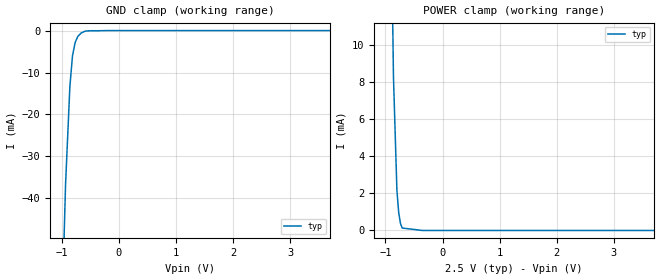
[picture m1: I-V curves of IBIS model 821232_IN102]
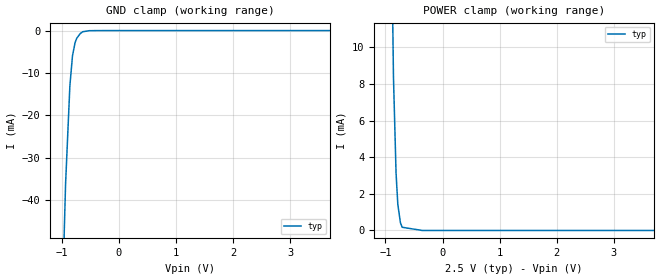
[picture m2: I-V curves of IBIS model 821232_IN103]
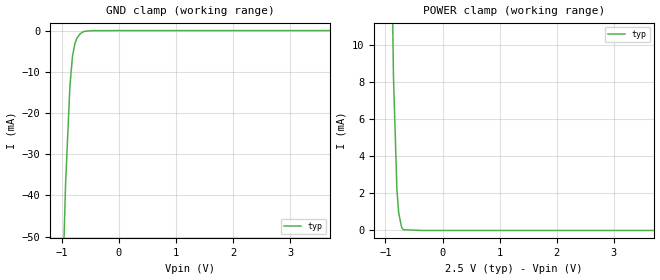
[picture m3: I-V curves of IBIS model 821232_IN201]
| COPYRIGHT(C) MENTOR GRAPHICS CORPORATION 2002 ALL
| RIGHTS RESERVED. THIS WORK CONTAINS PROPRIETARY
| INFORMATION WHICH IS THE PROPERTY OF MENTOR GRAPHICS
| CORPORATION OR ITS LICENSORS. USE OF THESE MATERIALS
| IS SUBJECT TO THE TERMS BELOW.
| USE: YOU MAY USE IBIS MODELS SOLELY FOR DEVELOPING
| PRINTED CIRCUIT BOARD DESIGNS. NO OTHER USE OR
| DISTRIBUTION OF THESE MATERIALS IS PERMITTED.
| DISCLAIMER OF WARRANTY:  UNLESS OTHERWISE AGREED
| IN WRITING, MENTOR GRAPHICS SOFTWARE AND ASSOCIATED
| FILES ARE PROVIDED "AS IS" AND WITHOUT WARRANTY.
| MENTOR GRAPHICS HAS NO OBLIGATION TO SUPPORT OR
| OTHERWISE MAINTAIN SOFTWARE.  MENTOR GRAPHICS MAKES
| NO WARRANTIES, EXPRESS OR IMPLIED WITH RESPECT TO
| SOFTWARE INCLUDING ANY WARRANTY OF MERCHANTABILITY
| OR FITNESS FOR A PARTICULAR PURPOSE.
| LIMITATION OF LIABILITY:  MENTOR GRAPHICS IS NOT LIABLE FOR
| ANY PROPERTY DAMAGE, PERSONAL INJURY, LOSS OF PROFITS,
| INTERRUPTION OF BUSINESS, OR FOR ANY OTHER SPECIAL,
| CONSEQUENTIAL OR INCIDENTAL DAMAGES, HOWEVER CAUSED,
| WHETHER FOR BREACH OF WARRANTY, CONTRACT, TORT
| (INCLUDING NEGLIGENCE), STRICT LIABILITY OR OTHERWISE. IN NO
| EVENT SHALL MENTOR GRAPHICS' LIABILITY EXCEED THE AMOUNT
| PAID FOR THE PRODUCT GIVING RISE TO THE CLAIM.
| TRADEMARKS:  THE FOLLOWING ARE REGISTERED TRADEMARKS
| OR SERVICE MARKS OF MENTOR GRAPHICS CORPORATION:
| ICX, ICX STANDARD LIBRARY, ICX PROJECT MODELING,
| AND ICX CUSTOM MODELING.  THE FOLLOWING ARE TRADEMARKS
| OR SERVICE MARKS OF MENTOR GRAPHICS CORPORATION:
| QUALITYIBIS, MODELVIEWER, AND MODELEDITOR. ALL OTHER
| BRANDS AND PRODUCT NAMES ARE TRADEMARKS OF THEIR
| RESPECTIVE OWNERS.
| COPIES:  ALL COPIES OF SOFTWARE, INCLUDING BUT NOT LIMITED
| TO ANY MODIFICATIONS, ENHANCEMENTS OR DERIVATIVE WORKS
| MUST CONTAIN ALL MENTOR GRAPHICS' NOTICES AND LEGENDS,
| INCLUDING THOSE EMBEDDED IN SOFTWARE AND THOSE AFFIXED
| TO THE SOFTWARE MEDIUM AND CONTAINER, AS RECEIVED FROM
| MENTOR GRAPHICS.
[IBIS Ver] 3.2
[File Name] nbsg53amn_25_800.ibs
[File Rev] 1.0
[Source] Measured and created by ICX Technology
[Date] 8/27/2003
[Copyright]
| COPYRIGHT(C) MENTOR GRAPHICS CORPORATION 2002 ALL
| RIGHTS RESERVED. THIS WORK CONTAINS PROPRIETARY
| INFORMATION WHICH IS THE PROPERTY OF MENTOR GRAPHICS
| CORPORATION OR ITS LICENSORS. USE OF THESE MATERIALS
| IS SUBJECT TO THE TERMS BELOW.
| USE: YOU MAY USE IBIS MODELS SOLELY FOR DEVELOPING
| PRINTED CIRCUIT BOARD DESIGNS. NO OTHER USE OR
| DISTRIBUTION OF THESE MATERIALS IS PERMITTED.
|  ZAP Model Builder 3.2
[Component] NBSG53AMN_25_800
[Manufacturer] On Semiconductor
[Package]
| variable   typ   min   max
R_pkg  .041ohms NA NA
L_pkg  0.797nH NA NA
C_pkg  0.131pF NA NA
[Pin] signal_name  model_name  R_pin  L_pin C_pin
1 _VTCLK NC   0.043 0.8418n 0.1483p
2 _CLK 821232_IN301  0.0395 0.7557n 0.1145p
3 CLK 821232_IN201   0.0395 0.755n 0.1192p
4 VTCLK NC   0.043 0.8427n 0.1486p
5 _VTD NC   0.043 0.8451n 0.1474p
6 _D 821232_IN102   0.0395 0.756n 0.1156p
7 D 821232_IN103   0.0395 0.7551n 0.1165p
8 VTD NC   0.043 0.8432n 0.1485p
9 VCC POWER   0.043 0.8418n 0.1468p
10 Q 821232_OUT204   0.0395 0.7533n 0.1136p
11 _Q 821232_OUT204  0.0395 0.7524n 0.1148p
12 VEE POWER   0.043 0.8415n 0.1528p
13 OLS 821232_IN404  0.043 0.8426n 0.1473p
14 SEL 821232_IN403  0.0395 0.7536n 0.1164p
15 R 821232_IN402   0.0395 0.7514n 0.118p
16 VCC POWER   0.043 0.8412n 0.1487p
[Diff Pin] inv_pin vdiff tdelay_typ tdelay_min tdelay_max
7 6 200mV NA NA NA
4 3 200mV NA NA NA
10 11 NA NA NA NA
| Models and submodels in the file (8): 821232_IN102 (Input_ECL), 821232_IN103 (Input_ECL), 821232_IN201 (Input_ECL), 821232_IN301 (Input_ECL), 821232_IN402 (Input), 821232_IN403 (Input), 821232_IN404 (Input), 821232_OUT204 (Output_ECL)
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| COPYRIGHT(C) MENTOR GRAPHICS CORPORATION 2002 ALL
| RIGHTS RESERVED. THIS WORK CONTAINS PROPRIETARY
| INFORMATION WHICH IS THE PROPERTY OF MENTOR GRAPHICS
| CORPORATION OR ITS LICENSORS. USE OF THESE MATERIALS
| IS SUBJECT TO THE TERMS BELOW.
| USE: YOU MAY USE IBIS MODELS SOLELY FOR DEVELOPING
| PRINTED CIRCUIT BOARD DESIGNS. NO OTHER USE OR
| DISTRIBUTION OF THESE MATERIALS IS PERMITTED.
| Model Application Version 1.89 2/18/99.
[Model] 821232_IN102
Model_type Input_ECL
Vinl = 1.100V
Vinh = 1.250V
C_comp 1.000pF NA NA
| variable typ   min   max
[Voltage Range] 2.500V NA NA
[GND Clamp Reference] 0.000V NA NA
[POWER Clamp Reference] 2.500V NA NA
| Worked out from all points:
|   GND clamp passes 1 mA (typ) near -0.69 V on its own axis
|   POWER clamp passes 1 mA (typ) near -0.77 V on its own axis
[GND Clamp]
-2.5V     -806.4mA   NA         NA
-932.3mV  -36.73mA   NA         NA
-856.5mV  -13.27mA   NA         NA
-810.9mV  -5.964mA   NA         NA
-765.3mV  -2.83mA    NA         NA
-719.7mV  -1.372mA   NA         NA
-659mV    -502.3uA   NA         NA
-587.6mV  -65.19uA   NA         NA
-496.5mV  27.81uA    NA         NA
-349.6mV  27.81uA    NA         NA
-202.7mV  71.6uA     NA         NA
5V        71.6uA     NA         NA
[POWER Clamp]
-2.5V     378.9mA    NA         NA
-859.6mV  8.276mA    NA         NA
-798.9mV  2.141mA    NA         NA
-768.4mV  976.9uA    NA         NA
-737.7mV  393uA      NA         NA
-707.5mV  131.5uA    NA         NA
-353.7mV  0A         NA         NA
5V        0A         NA         NA
| COPYRIGHT(C) MENTOR GRAPHICS CORPORATION 2002 ALL
| RIGHTS RESERVED. THIS WORK CONTAINS PROPRIETARY
| INFORMATION WHICH IS THE PROPERTY OF MENTOR GRAPHICS
| CORPORATION OR ITS LICENSORS. USE OF THESE MATERIALS
| IS SUBJECT TO THE TERMS BELOW.
| USE: YOU MAY USE IBIS MODELS SOLELY FOR DEVELOPING
| PRINTED CIRCUIT BOARD DESIGNS. NO OTHER USE OR
| DISTRIBUTION OF THESE MATERIALS IS PERMITTED.
| Model Application Version 1.89 2/18/99.
[Model] 821232_IN103
Model_type Input_ECL
Vinl = 1.100V
Vinh = 1.250V
C_comp 1.000pF NA NA
| variable typ   min   max
[Voltage Range] 2.500V NA NA
[GND Clamp Reference] 0.000V NA NA
[POWER Clamp Reference] 2.500V NA NA
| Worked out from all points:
|   GND clamp passes 1 mA (typ) near -0.69 V on its own axis
|   POWER clamp passes 1 mA (typ) near -0.76 V on its own axis
[GND Clamp]
-2.5V     -804mA     NA         NA
-932.3mV  -36.36mA   NA         NA
-856.6mV  -13mA      NA         NA
-810.9mV  -5.907mA   NA         NA
-765.3mV  -2.786mA   NA         NA
-735mV    -1.743mA   NA         NA
-674.1mV  -640.4uA   NA         NA
-628.3mV  -216.2uA   NA         NA
-511.7mV  25.03uA    NA         NA
-255.9mV  49.02uA    NA         NA
5V        49.02uA    NA         NA
[POWER Clamp]
-2.5V     404.1mA    NA         NA
-859.6mV  8.397mA    NA         NA
-813.9mV  3.123mA    NA         NA
-783.5mV  1.433mA    NA         NA
-737.8mV  425uA      NA         NA
-707.5mV  175.7uA    NA         NA
-353.8mV  0A         NA         NA
5V        0A         NA         NA
| COPYRIGHT(C) MENTOR GRAPHICS CORPORATION 2002 ALL
| RIGHTS RESERVED. THIS WORK CONTAINS PROPRIETARY
| INFORMATION WHICH IS THE PROPERTY OF MENTOR GRAPHICS
| CORPORATION OR ITS LICENSORS. USE OF THESE MATERIALS
| IS SUBJECT TO THE TERMS BELOW.
| USE: YOU MAY USE IBIS MODELS SOLELY FOR DEVELOPING
| PRINTED CIRCUIT BOARD DESIGNS. NO OTHER USE OR
| DISTRIBUTION OF THESE MATERIALS IS PERMITTED.
| Model Application Version 1.89 2/18/99.
[Model] 821232_IN201
Model_type Input_ECL
Vinl = 1.100V
Vinh = 1.250V
C_comp 1.000pF NA NA
| variable typ   min   max
[Voltage Range] 2.500V NA NA
[GND Clamp Reference] 0.000V NA NA
[POWER Clamp Reference] 2.500V NA NA
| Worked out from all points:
|   GND clamp passes 1 mA (typ) near -0.69 V on its own axis
|   POWER clamp passes 1 mA (typ) near -0.77 V on its own axis
[GND Clamp]
-2.5V     -807mA     NA         NA
-932.3mV  -37.33mA   NA         NA
-856.6mV  -13.56mA   NA         NA
-810.9mV  -6.136mA   NA         NA
-765.3mV  -2.899mA   NA         NA
-734.9mV  -1.808mA   NA         NA
-674.1mV  -665uA     NA         NA
-628.3mV  -257.7uA   NA         NA
-459.8mV  53.49uA    NA         NA
-41.89mV  80.88uA    NA         NA
5V        80.88uA    NA         NA
[POWER Clamp]
-2.5V     375.8mA    NA         NA
-859.5mV  8.275mA    NA         NA
-798.9mV  2.181mA    NA         NA
-768.4mV  959.3uA    NA         NA
-722.6mV  246.8uA    NA         NA
-707.5mV  113.9uA    NA         NA
-681.9mV  38.09uA    NA         NA
-340.9mV  0A         NA         NA
5V        0A         NA         NA
